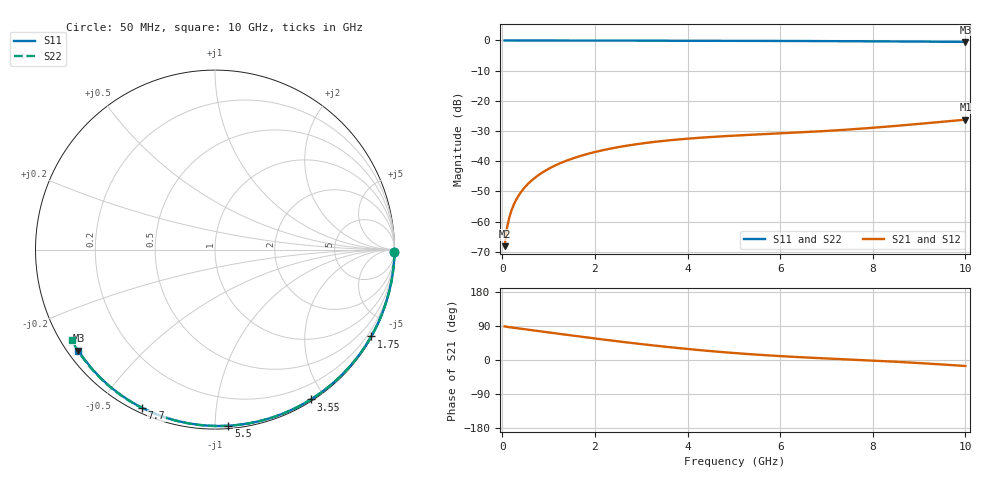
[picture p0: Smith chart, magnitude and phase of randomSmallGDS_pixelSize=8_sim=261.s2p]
! freq	dB(S11)	phase(S11)	dB(S12)	phase(S12)
!  dB(S21)	phase(S21)	dB(S22)	phase(S22)
!S-par simulation data
#  GHz  S  DB  R 50
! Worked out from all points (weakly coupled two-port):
!   200 points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, 50 MHz to 10 GHz, reference 50 ohm
!   highest |S21| = -26.24 dB at 10 GHz (marker M1); lowest = -68.1 dB at 50 MHz (marker M2)
!   lowest |S11| = -0.5 dB at 10 GHz (marker M3), VSWR 36.33, Z = 1.53 - j16.5 ohm
!   |S11| at or under -10 dB: nowhere
!   |S22| runs from -0.5 to 0.0 dB; largest |S21 - S12| = 0
!   S11 on the Smith chart (normalised r, x): 50 MHz: open; 1.75 GHz: 0.03, -3.86; 3.55 GHz: 0.02, -1.83; 5.5 GHz: 0.02, -1.08; 7.7 GHz: 0.02, -0.64; 10 GHz: 0.03, -0.33
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0.05  -0.00 -0.8  -68.15 88.7  -68.15 88.7  -0.00 -0.9
0.1  -0.00 -1.7  -62.17 87.6  -62.17 87.6  -0.00 -1.7
0.15  -0.00 -2.5  -58.70 86.6  -58.70 86.6  -0.00 -2.6
0.2  -0.00 -3.4  -56.24 85.8  -56.24 85.8  -0.00 -3.5
0.25  -0.00 -4.2  -54.33 84.9  -54.33 84.9  -0.00 -4.4
0.35  -0.00 -5.9  -51.45 83.4  -51.45 83.4  -0.00 -6.1
0.5  -0.01 -8.4  -48.40 81.0  -48.40 81.0  -0.01 -8.7
0.7  -0.01 -11.8  -45.53 77.7  -45.53 77.7  -0.01 -12.1
1  -0.02 -16.8  -42.52 72.8  -42.52 72.8  -0.02 -17.3
1.35  -0.03 -22.5  -40.04 67.1  -40.04 67.1  -0.03 -23.2
1.75  -0.04 -29.1  -37.98 60.7  -37.98 60.7  -0.04 -29.9
2.5  -0.05 -41.1  -35.35 49.2  -35.35 49.2  -0.06 -42.3
3.4  -0.07 -55.1  -33.41 36.6  -33.41 36.6  -0.08 -56.7
3.55  -0.08 -57.4  -33.16 34.6  -33.16 34.6  -0.08 -59.0
4.3  -0.10 -68.6  -32.19 25.6  -32.19 25.6  -0.10 -70.5
5.05  -0.12 -79.4  -31.50 18.0  -31.50 18.0  -0.13 -81.6
5.5  -0.14 -85.7  -31.15 14.1  -31.15 14.1  -0.14 -88.1
6.7  -0.20 -101.9  -30.24 5.8  -30.24 5.8  -0.20 -104.7
7.7  -0.26 -114.8  -29.27 0.2  -29.27 0.2  -0.27 -118.0
8.35  -0.31 -123.0  -28.49 -3.7  -28.49 -3.7  -0.32 -126.4
9.2  -0.39 -133.6  -27.36 -9.5  -27.36 -9.5  -0.40 -137.4
10  -0.48 -143.5  -26.24 -15.9  -26.24 -15.9  -0.49 -147.7
